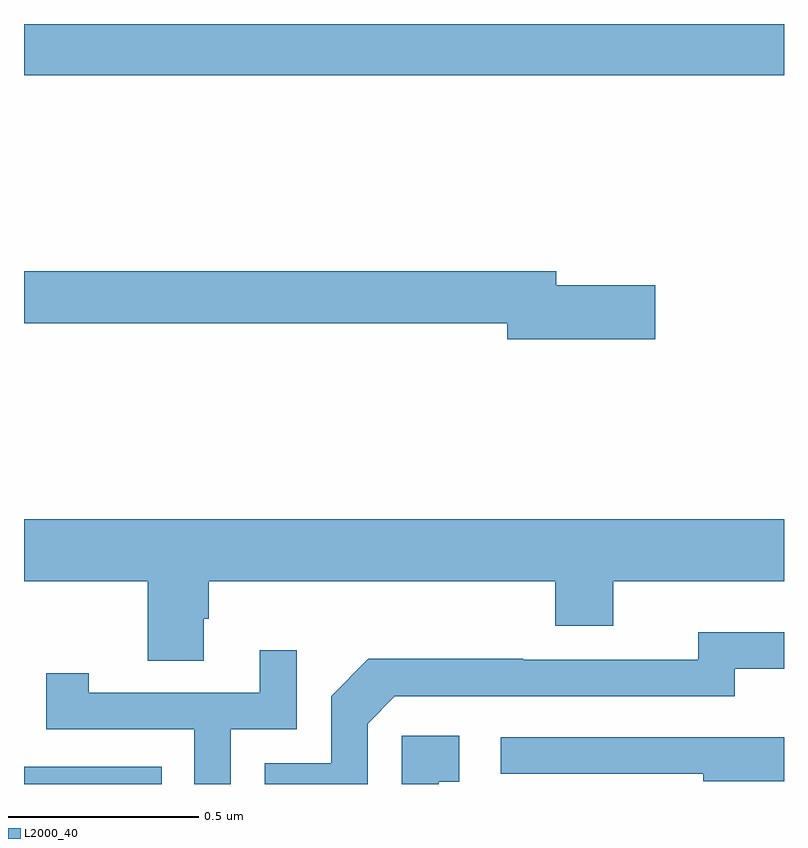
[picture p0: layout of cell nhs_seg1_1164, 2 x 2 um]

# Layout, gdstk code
import gdstk
lib = gdstk.Library(unit=1e-6, precision=1e-09)
def R(c, l, rs):  # rectangles x0, y0, x1, y1
    for r in rs: c.add(gdstk.rectangle(r[:2], r[2:], *l))
def P(c, l, *ps):  # polygons
    for p in ps: c.add(gdstk.Polygon(p, *l))
L2000_40 = (2000, 40)

nhs_seg1_1164 = lib.new_cell('nhs_seg1_1164')
R(nhs_seg1_1164, L2000_40, [(125,551.199,125.363,551.244), (125,553.064,127,553.199)])
P(nhs_seg1_1164, L2000_40, [(126.661,552.512),(126.4,552.512),(126.4,552.548),(125,552.548),(125,552.412),(126.272,552.412),(126.272,552.37),(126.661,552.37)],
  [(125.473,551.634),(125.486,551.634),(125.486,551.732),(126.398,551.732),(126.398,551.615),(126.55,551.615),(126.55,551.732),(127,551.732),(127,551.896),(125,551.896),(125,551.732),(125.326,551.732),(125.326,551.524),(125.473,551.524)],
  [(125.904,551.358),(125.976,551.43),(126.87,551.43),(126.87,551.502),(127,551.502),(127,551.599),(126.774,551.599),(126.774,551.526),(126.314,551.526),(126.314,551.528),(125.906,551.528),(125.808,551.43),(125.808,551.253),(125.634,551.253),(125.634,551.199),(125.904,551.199)],
  [(125.544,551.343),(125.718,551.343),(125.718,551.551),(125.621,551.551),(125.621,551.439),(125.17,551.439),(125.17,551.491),(125.059,551.491),(125.059,551.343),(125.448,551.343),(125.448,551.199),(125.544,551.199)],
  [(126.092,551.205),(126.145,551.205),(126.145,551.326),(125.994,551.326),(125.994,551.199),(126.092,551.199)],
  [(127,551.322),(126.255,551.322),(126.255,551.226),(126.787,551.226),(126.787,551.206),(127,551.206)])

lib.write_gds('nhs_seg1_1164.gds')
